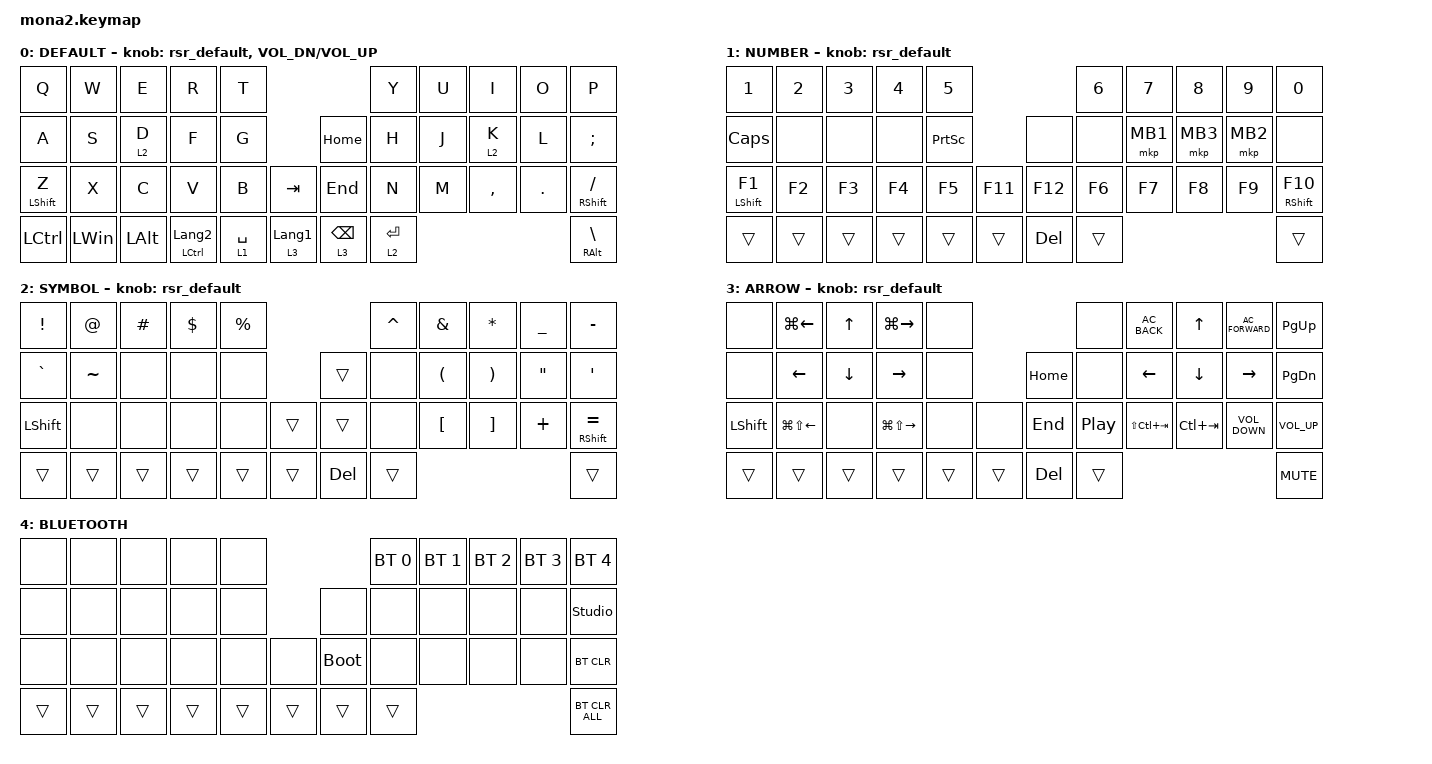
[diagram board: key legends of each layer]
#include <input/processors.dtsi>
#include <dt-bindings/zmk/input_transform.h>
#include <zephyr/dt-bindings/input/input-event-codes.h>
#include <behaviors/runtime-sensor-rotate.dtsi>
#include <behaviors.dtsi>
#include <dt-bindings/zmk/bt.h>
#include <dt-bindings/zmk/keys.h>
#include <dt-bindings/zmk/outputs.h>
#include <dt-bindings/zmk/pointing.h>

/* ZMK 側で 10 が定義済みなので警告回避のため一旦 undef */

#undef ZMK_POINTING_DEFAULT_SCRL_VAL

#define ZMK_POINTING_DEFAULT_SCRL_VAL 100

&mt {
    flavor = "balanced";
    quick-tap-ms = <0>;
};

&lt {
    quick-tap-ms = <200>;
    flavor = "balanced";
};

&msc {
    delay-ms = <0>;
    time-to-max-speed-ms = <0>;
    acceleration-exponent = <0>;
};

&mkp_input_listener {
    // マウスキーを押したらAMLを500ms延長
    input-processors = <&zip_temp_layer 1 500>;
};

/ {
    combos {
        compatible = "zmk,combos";

        layer4_ESC {
            bindings = <&lt 4 ESC>;
            key-positions = <38 39>;
        };

        tab {
            bindings = <&kp TAB>;
            key-positions = <11 12>;
        };
    };

    macros {
        to_layer_0: to_layer_0 {
            compatible = "zmk,behavior-macro-one-param";
            #binding-cells = <1>;
            bindings = <&to 0 &macro_param_1to1 &kp MACRO_PLACEHOLDER>;
            label = "TO_LAYER_0";
        };

        BT0: BT0 {
            compatible = "zmk,behavior-macro";
            #binding-cells = <0>;
            bindings =
                <&tog_off 0 &tog_off 1>,
                <&macro_wait_time 200>,
                <&bt BT_SEL 0>,
                <&macro_wait_time 500>,
                <&tog_on 0>;

            label = "BT0";
        };

        BT1: BT1 {
            compatible = "zmk,behavior-macro";
            #binding-cells = <0>;
            bindings =
                <&tog_off 0 &tog_off 1>,
                <&macro_wait_time 200>,
                <&bt BT_SEL 1>,
                <&macro_wait_time 500>,
                <&tog_on 1>;

            label = "BT1";
        };

        screenshot: screenshot {
            compatible = "zmk,behavior-macro";
            #binding-cells = <0>;
            bindings =
                <&macro_press>,
                <&kp LEFT_GUI &kp RSHIFT>,
                <&macro_wait_time 20>,
                <&macro_tap>,
                <&kp S>,
                <&macro_release>,
                <&kp LEFT_GUI &kp RSHIFT>;

            label = "SCREENSHOT";
        };

        henkan: henkan {
            compatible = "zmk,behavior-macro";
            #binding-cells = <0>;
            bindings =
                <&macro_press>,
                <&kp LEFT_ALT>,
                <&macro_wait_time 20>,
                <&macro_tap>,
                <&kp GRAVE>,
                <&macro_release>,
                <&kp LEFT_ALT>;

            label = "HENKAN";
        };
    };

    behaviors {
        lt_to_layer_0: lt_to_layer_0 {
            compatible = "zmk,behavior-hold-tap";
            label = "LAYER_TAP_TO_0";
            bindings = <&mo>, <&to_layer_0>;

            #binding-cells = <2>;
            tapping-term-ms = <200>;
        };

        tp_repeat_mo1: tp_repeat_mo1 {
            compatible = "zmk,behavior-hold-tap";
            label = "TP_REPEAT_MO1";
            bindings = <&mo>, <&key_repeat>;

            #binding-cells = <2>;
            tapping-term-ms = <200>;
        };

        // エンコーダ用 runtime-configurable sensor rotate
        // デフォルトはスクロール (cw=SCRL_DOWN, ccw=SCRL_UP)
        // DYA Studio Web UI から レイヤーごとに cw/ccw の binding を
        // kp C_VOL_UP/DN や kp LEFT/RIGHT などへ動的変更可能

        rsr_default: rsr_default {
            compatible = "zmk,behavior-runtime-sensor-rotate";
            #sensor-binding-cells = <0>;
            tap-ms = <16>;
            cw-binding = <&msc SCRL_DOWN>;
            ccw-binding = <&msc SCRL_UP>;
        };

        tog_on: toggle_layer_on_only {
            compatible = "zmk,behavior-toggle-layer";
            #binding-cells = <1>;
            display-name = "Toggle Layer On";
            toggle-mode = "on";
        };

        tog_off: toggle_layer_off_only {
            compatible = "zmk,behavior-toggle-layer";
            #binding-cells = <1>;
            display-name = "Toggle Layer Off";
            toggle-mode = "off";
        };

        zfold: zfold {
            compatible = "zmk,behavior-hold-tap";
            label = "ZFOLD";
            bindings = <&kp>, <&kp>;

            #binding-cells = <2>;
            tapping-term-ms = <300>;
            flavor = "hold-preferred";
            quick-tap-ms = <150>;
            hold-while-undecided;
        };

        zfoldZ: zfoldZ {
            compatible = "zmk,behavior-tap-dance";
            label = "ZFOLDZ";
            #binding-cells = <0>;
            bindings = <&zfold LEFT_SHIFT Z>, <&kp LS(Z)>;
        };

        double_tap: double_tap {
            compatible = "zmk,behavior-hold-tap";
            label = "DOUBLE_TAP";
            bindings = <&mo>, <&kp>;

            #binding-cells = <2>;
            tapping-term-ms = <200>;
            quick-tap-ms = <200>;
        };
    };

    keymap {
        compatible = "zmk,keymap";

        default_layer {
            display-name = "DEFAULT";
            bindings = <
&kp Q             &kp W         &kp E         &kp R                        &kp T                                                                             &kp Y                &kp U  &kp I      &kp O    &kp P
&kp A             &kp S         &lt 2 D       &kp F                        &kp G                                                    &kp HOME                 &kp H                &kp J  &lt 2 K    &kp L    &kp SEMICOLON
&mt LEFT_SHIFT Z  &kp X         &kp C         &kp V                        &kp B                   &kp TAB                          &kp END                  &kp N                &kp M  &kp COMMA  &kp DOT  &mt RIGHT_SHIFT SLASH
&kp LEFT_CONTROL  &kp LEFT_WIN  &kp LEFT_ALT  &mt LEFT_CONTROL LANGUAGE_2  &lt_to_layer_0 1 SPACE  &lt_to_layer_0 3 LANGUAGE_1      &double_tap 3 BACKSPACE  &double_tap 2 ENTER                             &mt RIGHT_ALT BACKSLASH
            >;

            sensor-bindings = <&rsr_default>, <&inc_dec_kp C_VOL_DN C_VOL_UP>;
        };

        num_layer {
            display-name = "NUMBER";
            bindings = <
&kp NUMBER_1       &kp NUMBER_2  &kp NUMBER_3  &kp NUMBER_4  &kp NUMBER_5                              &kp NUMBER_6  &kp NUMBER_7  &kp NUMBER_8  &kp NUMBER_9  &kp NUMBER_0
&kp CAPSLOCK       &none         &none         &none         &kp PRINTSCREEN               &none       &none         &mkp MB1      &mkp MB3      &mkp MB2      &none
&mt LEFT_SHIFT F1  &kp F2        &kp F3        &kp F4        &kp F5           &kp F11      &kp F12     &kp F6        &kp F7        &kp F8        &kp F9        &mt RIGHT_SHIFT F10
&trans             &trans        &trans        &trans        &trans           &trans       &kp DELETE  &trans                                                  &trans
            >;

            sensor-bindings = <&rsr_default>;
        };

        sym_layer {
            display-name = "SYMBOL";
            bindings = <
&kp EXCLAMATION  &kp AT_SIGN  &kp HASH  &kp DOLLAR  &kp PERCENT                          &kp CARET  &kp AMPERSAND         &kp ASTERISK           &kp UNDERSCORE     &kp MINUS
&kp GRAVE        &kp TILDE    &none     &none       &none                    &trans      &none      &kp LEFT_PARENTHESIS  &kp RIGHT_PARENTHESIS  &kp DOUBLE_QUOTES  &kp SINGLE_QUOTE
&kp LEFT_SHIFT   &none        &none     &none       &none        &trans      &trans      &none      &kp LEFT_BRACKET      &kp RIGHT_BRACKET      &kp PLUS           &mt RIGHT_SHIFT EQUAL
&trans           &trans       &trans    &trans      &trans       &trans      &kp DELETE  &trans                                                                     &trans
            >;

            sensor-bindings = <&rsr_default>;
        };

        arr_layer {
            display-name = "ARROW";
            bindings = <
&none           &kp LG(LEFT_ARROW)      &kp UP_ARROW    &kp LG(RIGHT_ARROW)      &none                           &none             &kp C_AC_BACK    &kp UP_ARROW    &kp C_AC_FORWARD   &kp PAGE_UP
&none           &kp LEFT_ARROW          &kp DOWN_ARROW  &kp RIGHT_ARROW          &none               &kp HOME    &none             &kp LEFT_ARROW   &kp DOWN_ARROW  &kp RIGHT_ARROW    &kp PAGE_DOWN
&kp LEFT_SHIFT  &kp LG(LS(LEFT_ARROW))  &none           &kp LG(LS(RIGHT_ARROW))  &none   &none       &kp END     &kp C_PLAY_PAUSE  &kp LS(LC(TAB))  &kp LC(TAB)     &kp C_VOLUME_DOWN  &kp C_VOLUME_UP
&trans          &trans                  &trans          &trans                   &trans  &trans      &kp DELETE  &trans                                                                &kp C_MUTE
            >;

            sensor-bindings = <&rsr_default>;
        };

        ble_win {
            display-name = "BLUETOOTH";
            bindings = <
&none   &none   &none   &none   &none                            &bt BT_SEL 0  &bt BT_SEL 1  &bt BT_SEL 2  &bt BT_SEL 3  &bt BT_SEL 4
&none   &none   &none   &none   &none               &none        &none         &none         &none         &none         &studio_unlock
&none   &none   &none   &none   &none   &none       &bootloader  &none         &none         &none         &none         &bt BT_CLR
&trans  &trans  &trans  &trans  &trans  &trans      &trans       &trans                                                  &bt BT_CLR_ALL
            >;
        };
    };
};
